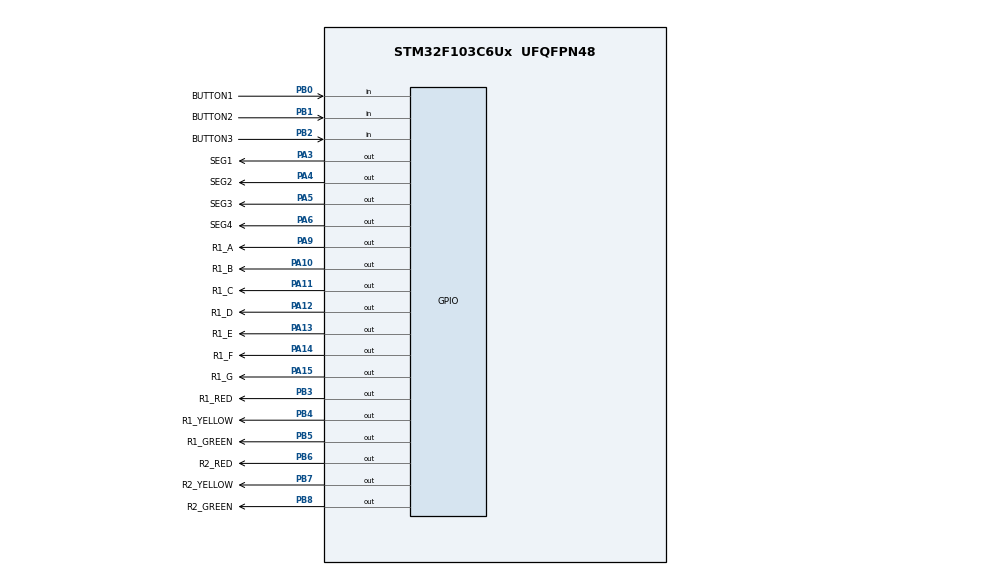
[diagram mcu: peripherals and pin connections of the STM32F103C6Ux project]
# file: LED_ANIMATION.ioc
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Mcu.Family=STM32F1
Mcu.Name=STM32F103C6Ux
Mcu.Package=UFQFPN48
NVIC.PriorityGroup=NVIC_PRIORITYGROUP_4
NVIC.TIM2_IRQn=true\:0\:0\:false\:false\:true\:true\:true
PA10.GPIO_Label=R1_B
PA10.Signal=GPIO_Output
PA11.GPIO_Label=R1_C
PA11.Signal=GPIO_Output
PA12.GPIO_Label=R1_D
PA12.Signal=GPIO_Output
PA13.GPIO_Label=R1_E
PA13.Signal=GPIO_Output
PA14.GPIO_Label=R1_F
PA14.Signal=GPIO_Output
PA15.GPIO_Label=R1_G
PA15.Signal=GPIO_Output
PA3.GPIO_Label=SEG1
PA3.Signal=GPIO_Output
PA4.GPIO_Label=SEG2
PA4.Signal=GPIO_Output
PA5.GPIO_Label=SEG3
PA5.Signal=GPIO_Output
PA6.GPIO_Label=SEG4
PA6.Signal=GPIO_Output
PA9.GPIO_Label=R1_A
PA9.Signal=GPIO_Output
PB0.GPIO_Label=BUTTON1
PB0.GPIO_PuPd=GPIO_PULLUP
PB0.Signal=GPIO_Input
PB1.GPIO_Label=BUTTON2
PB1.GPIO_PuPd=GPIO_PULLUP
PB1.Signal=GPIO_Input
PB2.GPIO_Label=BUTTON3
PB2.GPIO_PuPd=GPIO_PULLUP
PB2.Signal=GPIO_Input
PB3.GPIO_Label=R1_RED
PB3.Signal=GPIO_Output
PB4.GPIO_Label=R1_YELLOW
PB4.Signal=GPIO_Output
PB5.GPIO_Label=R1_GREEN
PB5.Signal=GPIO_Output
PB6.GPIO_Label=R2_RED
PB6.Signal=GPIO_Output
PB7.GPIO_Label=R2_YELLOW
PB7.Signal=GPIO_Output
PB8.GPIO_Label=R2_GREEN
PB8.Signal=GPIO_Output
ProjectManager.HeapSize=0x200
ProjectManager.StackSize=0x400
ProjectManager.TargetToolchain=STM32CubeIDE
RCC.APB1Freq_Value=8000000
RCC.APB2Freq_Value=8000000
TIM2.Period=9
TIM2.Prescaler=7999
VP_SYS_VS_ND.Mode=No_Debug
VP_TIM2_VS_ClockSourceINT.Mode=Internal
board=custom

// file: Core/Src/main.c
/* USER CODE BEGIN Header */
/**
  ******************************************************************************
  * @file           : main.c
  * @brief          : Main program body
  ******************************************************************************
  * @attention
  *
  * <h2><center>&copy; Copyright (c) 2023 STMicroelectronics.
  * All rights reserved.</center></h2>
  *
  * This software component is licensed by ST under BSD 3-Clause license,
  * the "License"; You may not use this file except in compliance with the
  * License. You may obtain a copy of the License at:
  *                        opensource.org/licenses/BSD-3-Clause
  *
  ******************************************************************************
  */
/* USER CODE END Header */
#include "main.h"

/* USER CODE BEGIN Includes */
//#include "input_reading.h"
#include "input_processing.h"
//#include "global.h"
/* USER CODE END Includes */

/* USER CODE BEGIN PM */
int LED = 0;
int SEG = 1;
int MATRIX = 2;
/* USER CODE END PM */

TIM_HandleTypeDef htim2;

void SystemClock_Config(void);
static void MX_GPIO_Init(void);
static void MX_TIM2_Init(void);

/* USER CODE BEGIN 0 */

//
//const int MAX_LED_MATRIX = 8;
//int index_led_matrix = 0;
//uint8_t matrix_buffer[8] = //{0x01, 0x02, 0x03, 0x04, 0x05, 0x06, 0x07, 0x08};
//		{0xE7, 0xDB, 0xBD, 0xBD, 0x81, 0xBD, 0xBD, 0xBD};//A
//
//
//const int MAX_LED = 4;
//int index_led = 0;
//int led_buffer[4] = {0, 0, 0, 0};
//int hour = 15, min = 8, sec = 50;
//
//void updateClockBuffer(){
//	led_buffer[0] = hour / 10;
//	led_buffer[2] = min / 10;
//	led_buffer[1] = hour % 10;
//	led_buffer[3] = min % 10;
//	++clock_buffer[2];
//	if(clock_buffer[2] == 60){
//	  ++clock_buffer[1];
//	  clock_buffer[2] = 0;
//	}
//	if(clock_buffer[1] == 60){
//	  ++clock_buffer[0];
//	  clock_buffer[1] = 0;
//	}
//	if(clock_buffer[0] == 24){
//	  clock_buffer[0] = 0;
//	}
//}

//void update7SEG(int id){
//	switch(id){
//		case 0: {
//		  HAL_GPIO_WritePin(en0_GPIO_Port, en0_Pin, GPIO_PIN_RESET);
//		  HAL_GPIO_WritePin(en3_GPIO_Port, en3_Pin, GPIO_PIN_SET);
//		  HAL_GPIO_WritePin(RED_LED_GPIO_Port, RED_LED_Pin, GPIO_PIN_SET);
//		  display7SEG(led_buffer[id]);
//		  break;
//		}
//		case 1: {
//			HAL_GPIO_WritePin(en1_GPIO_Port, en1_Pin, GPIO_PIN_RESET);
//			HAL_GPIO_WritePin(en0_GPIO_Port, en0_Pin, GPIO_PIN_SET);
//		  HAL_GPIO_WritePin(RED_LED_GPIO_Port, RED_LED_Pin, GPIO_PIN_RESET);
//		  display7SEG(led_buffer[id]);
//		  break;
//		}
//		case 2: {
//			HAL_GPIO_WritePin(en2_GPIO_Port, en2_Pin, GPIO_PIN_RESET);
//			HAL_GPIO_WritePin(en1_GPIO_Port, en1_Pin, GPIO_PIN_SET);
//		  HAL_GPIO_WritePin(RED_LED_GPIO_Port, RED_LED_Pin, GPIO_PIN_SET);
//		  display7SEG(led_buffer[id]);
//		  break;
//		}
//		case 3: {
//			HAL_GPIO_WritePin(en3_GPIO_Port, en3_Pin, GPIO_PIN_RESET);
//			HAL_GPIO_WritePin(en2_GPIO_Port, en2_Pin, GPIO_PIN_SET);
//			HAL_GPIO_WritePin(RED_LED_GPIO_Port, RED_LED_Pin, GPIO_PIN_RESET);
//		  display7SEG(led_buffer[id]);
//		  break;
//		}
//		default:{
//		  HAL_GPIO_WritePin(dot_GPIO_Port, dot_Pin, GPIO_PIN_SET);
//		  HAL_GPIO_WritePin(en0_GPIO_Port, en0_Pin, GPIO_PIN_SET);
//		  HAL_GPIO_WritePin(en1_GPIO_Port, en1_Pin, GPIO_PIN_SET);
//		  HAL_GPIO_WritePin(en0_GPIO_Port, en2_Pin, GPIO_PIN_SET);
//		  HAL_GPIO_WritePin(en1_GPIO_Port, en3_Pin, GPIO_PIN_SET);
//		  break;
//		}
//	}
//}

/* USER CODE END 0 */

int main(void)
{

  /* MCU Configuration--------------------------------------------------------*/

  /* Reset of all peripherals, Initializes the Flash interface and the Systick. */
  HAL_Init();

  /* Configure the system clock */
  SystemClock_Config();

  /* Initialize all configured peripherals */
  MX_GPIO_Init();
  MX_TIM2_Init();
  /* USER CODE BEGIN 2 */
  HAL_TIM_Base_Start_IT(&htim2);
  /* USER CODE END 2 */

  /* Infinite loop */
  /* USER CODE BEGIN WHILE */

//  setTimer(50, id);
//  HAL_GPIO_WritePin(dot_GPIO_Port, dot_Pin, GPIO_PIN_RESET);
//  HAL_GPIO_WritePin(en0_GPIO_Port, en0_Pin, GPIO_PIN_SET);
//  HAL_GPIO_WritePin(en1_GPIO_Port, en1_Pin, GPIO_PIN_SET);
//  HAL_GPIO_WritePin(en2_GPIO_Port, en2_Pin, GPIO_PIN_SET);
//  HAL_GPIO_WritePin(en3_GPIO_Port, en3_Pin, GPIO_PIN_SET);
//  setTimer(100, SEG);
//  setTimer(100, LED);
//  setTimer(1, MATRIX);
//
//  int seg = 0;
//  int id = 0;
//  int led = 1;

//  HAL_GPIO_WritePin(GPIOA, A5_Pin, 1);
  //HAL_GPIO_WritePin(GPIOB, BUTTON1_Pin, 1);

setTimer(0.5, 0);
setTimer(1, 1);
setTimer(0.24, 2);
status = INIT;
//HAL_GPIO_WritePin(GPIOA, SEG1_Pin, 1);
//int c = 0;
  while (1){

	  fsm_for_normal();
	  fsm_for_modify();

//	  HAL_GPIO_WritePin(GPIOA, SEG1_Pin, 0);
//	  if(timer_flag[2]) {
//		  HAL_GPIO_TogglePin(GPIOB, R1_RED_Pin);
//		//scan7SEG(1, 11);		//Display letter 'E'
//		  int t = (int) (1000 * 0.24) / 10;
//		  display7SEG(t / 10);
//		setTimer(0.24, 2);
//	}
//
//	  if(timer_flag[1]) {
//		  HAL_GPIO_TogglePin(GPIOB, R1_GREEN_Pin);
//		  setTimer(1, 1);
//	  }
//
//	  if(timer_flag[0]) {
//	  		  HAL_GPIO_TogglePin(GPIOB, R1_YELLOW_Pin);
//	  		  setTimer(0.5, 0);
//	  	  }

//	  HAL_GPIO_TogglePin(SEG1_GPIO_Port, SEG1_Pin);
//	  HAL_GPIO_TogglePin(SEG1_GPIO_Port, R1_A_Pin);
//
//	  HAL_GPIO_TogglePin(GPIOB, R1_RED_Pin);
//	  HAL_Delay(250);
//	  if(timer_flag[0]){

//	  write_led(R1_RED_Pin, R2_GREEN_Pin, 0);

//	display7SEG(led_count[R1], GPIOA);
//	display7SEG(led_count[R2], GPIOB);
//
//	if(timer_flag[1]){
//		led_count[R1] = 9;
//		led_count[R2] = 9;
//		status = RED_YELLOW;
//		HAL_GPIO_TogglePin(GPIOA, R1_RED_Pin);
//		HAL_GPIO_TogglePin(GPIOA, R2_GREEN_Pin);
//		setTimer(300, 1);
//	}
//	if(timer_flag[0]){
////	display7SEG(c++, GPIOA);
////	c %= 10;
//		--led_count[0];
//		--led_count[1];
//	  setTimer(100, 0);
//	}

//	  fsm_for_auto_processing();
//	  fsm_for_manual_processing();

//	  if(is_Pressed() == 1){
//		  HAL_GPIO_TogglePin(GPIOA, A5_Pin);
//	  }

	  //HAL_GPIO_WritePin(GPIOA, A5_Pin, HAL_GPIO_ReadPin(GPIOB, BUTTON_1_Pin));
	  //fsm_for_input_processing();

//	  if(timer_flag[LED] == 1){
//		  switch(led){
//		  	  case 1:{
//		  		  HAL_GPIO_WritePin(dot_GPIO_Port, dot_Pin, GPIO_PIN_SET);
//		  		  led = 0;
//		  		  break;
//		  	  }
//		  	  default:{
//		  		  HAL_GPIO_WritePin(dot_GPIO_Port, dot_Pin, GPIO_PIN_RESET);
//		  		  led = 1;
//		  	  }
//		  }
//
//		  shiftLeft(matrix_buffer);
//		  setTimer(100, LED);
//	  }
//
//	  if(timer_flag[MATRIX] == 1){
//
//		  updateLEDMatrix(matrix_buffer, id++);
//			if (id> 7) {
//				id= 0;
//			}
//
//		  setTimer(1, MATRIX);
//	  }
//	  if(timer_flag[SEG] == 1){
//
//		  updateClockBuffer();
//		  seg = seg % MAX_LED;
//		  update7SEG(seg++);
//		  ++sec;
//
//
////		  switch(seg){
////			  case 1: {
////				  HAL_GPIO_WritePin(en0_GPIO_Port, en0_Pin, (seg == 1) ? GPIO_PIN_RESET : GPIO_PIN_SET);
////				  HAL_GPIO_WritePin(en1_GPIO_Port, en1_Pin, (seg == 1) ? GPIO_PIN_SET : GPIO_PIN_RESET);
////				  HAL_GPIO_WritePin(en2_GPIO_Port, en2_Pin, (seg == 1) ? GPIO_PIN_SET : GPIO_PIN_RESET);
////				  HAL_GPIO_WritePin(en3_GPIO_Port, en3_Pin, (seg == 1) ? GPIO_PIN_SET : GPIO_PIN_RESET);
////				  HAL_GPIO_WritePin(RED_LED_GPIO_Port, RED_LED_Pin, GPIO_PIN_SET);
////				  display7SEG(seg);
////				  seg = 2;
////				  break;
////			  }
////			  case 2: {
////				  HAL_GPIO_WritePin(en0_GPIO_Port, en0_Pin, (seg == 2) ? GPIO_PIN_SET : GPIO_PIN_RESET);
////				  HAL_GPIO_WritePin(en1_GPIO_Port, en1_Pin, (seg == 2) ? GPIO_PIN_RESET : GPIO_PIN_SET);
////				  HAL_GPIO_WritePin(en2_GPIO_Port, en2_Pin, (seg == 2) ? GPIO_PIN_SET : GPIO_PIN_RESET);
////				  HAL_GPIO_WritePin(en3_GPIO_Port, en3_Pin, (seg == 2) ? GPIO_PIN_SET : GPIO_PIN_RESET);
////				  HAL_GPIO_WritePin(RED_LED_GPIO_Port, RED_LED_Pin, GPIO_PIN_RESET);
////				  display7SEG(seg);
////				  seg = 3;
////				  break;
////			  }
////			  case 3: {
////				  HAL_GPIO_WritePin(en0_GPIO_Port, en0_Pin, (seg == 3) ? GPIO_PIN_SET : GPIO_PIN_RESET);
////				  HAL_GPIO_WritePin(en1_GPIO_Port, en1_Pin, (seg == 3) ? GPIO_PIN_SET : GPIO_PIN_RESET);
////				  HAL_GPIO_WritePin(en2_GPIO_Port, en2_Pin, (seg == 3) ? GPIO_PIN_RESET : GPIO_PIN_SET);
////				  HAL_GPIO_WritePin(en3_GPIO_Port, en3_Pin, (seg == 3) ? GPIO_PIN_SET : GPIO_PIN_RESET);
////				  HAL_GPIO_WritePin(RED_LED_GPIO_Port, RED_LED_Pin, GPIO_PIN_SET);
////				  display7SEG(seg);
////				  seg = 4;
////				  break;
////			  }
////			  case 4: {
////				  HAL_GPIO_WritePin(en0_GPIO_Port, en0_Pin, (seg == 4) ? GPIO_PIN_SET : GPIO_PIN_RESET);
////				  HAL_GPIO_WritePin(en1_GPIO_Port, en1_Pin, (seg == 4) ? GPIO_PIN_SET : GPIO_PIN_RESET);
////				  HAL_GPIO_WritePin(en2_GPIO_Port, en2_Pin, (seg == 4) ? GPIO_PIN_SET : GPIO_PIN_RESET);
////				  HAL_GPIO_WritePin(en3_GPIO_Port, en3_Pin, (seg == 4) ? GPIO_PIN_RESET : GPIO_PIN_SET);
////				  HAL_GPIO_WritePin(RED_LED_GPIO_Port, RED_LED_Pin, GPIO_PIN_RESET);
////				  display7SEG(seg - 4);
////				  seg = 1;
////				  break;
////			  }
////			  default:{
////				  HAL_GPIO_WritePin(dot_GPIO_Port, dot_Pin, GPIO_PIN_SET);
////				  HAL_GPIO_WritePin(en0_GPIO_Port, en0_Pin, GPIO_PIN_SET);
////				  HAL_GPIO_WritePin(en1_GPIO_Port, en1_Pin, GPIO_PIN_SET);
////				  HAL_GPIO_WritePin(en0_GPIO_Port, en2_Pin, GPIO_PIN_SET);
////				  HAL_GPIO_WritePin(en1_GPIO_Port, en3_Pin, GPIO_PIN_SET);
////				  seg = 1;
////				  break;
////			  }
////		  }
//
//
//
//		  //setTimer(50, id);
//		  setTimer(100, SEG);
	  //}

    /* USER CODE END WHILE */

  }
}

void SystemClock_Config(void)
{
  RCC_OscInitTypeDef RCC_OscInitStruct = {0};
  RCC_ClkInitTypeDef RCC_ClkInitStruct = {0};

  /** Initializes the RCC Oscillators according to the specified parameters
  * in the RCC_OscInitTypeDef structure.
  */
  RCC_OscInitStruct.OscillatorType = RCC_OSCILLATORTYPE_HSI;
  RCC_OscInitStruct.HSIState = RCC_HSI_ON;
  RCC_OscInitStruct.HSICalibrationValue = RCC_HSICALIBRATION_DEFAULT;
  RCC_OscInitStruct.PLL.PLLState = RCC_PLL_NONE;
  if (HAL_RCC_OscConfig(&RCC_OscInitStruct) != HAL_OK)
  {
    Error_Handler();
  }
  /** Initializes the CPU, AHB and APB buses clocks
  */
  RCC_ClkInitStruct.ClockType = RCC_CLOCKTYPE_HCLK|RCC_CLOCKTYPE_SYSCLK
                              |RCC_CLOCKTYPE_PCLK1|RCC_CLOCKTYPE_PCLK2;
  RCC_ClkInitStruct.SYSCLKSource = RCC_SYSCLKSOURCE_HSI;
  RCC_ClkInitStruct.AHBCLKDivider = RCC_SYSCLK_DIV1;
  RCC_ClkInitStruct.APB1CLKDivider = RCC_HCLK_DIV1;
  RCC_ClkInitStruct.APB2CLKDivider = RCC_HCLK_DIV1;

  if (HAL_RCC_ClockConfig(&RCC_ClkInitStruct, FLASH_LATENCY_0) != HAL_OK)
  {
    Error_Handler();
  }
}

static void MX_TIM2_Init(void)
{

  TIM_ClockConfigTypeDef sClockSourceConfig = {0};
  TIM_MasterConfigTypeDef sMasterConfig = {0};

  htim2.Instance = TIM2;
  htim2.Init.Prescaler = 7999;
  htim2.Init.CounterMode = TIM_COUNTERMODE_UP;
  htim2.Init.Period = 9;
  htim2.Init.ClockDivision = TIM_CLOCKDIVISION_DIV1;
  htim2.Init.AutoReloadPreload = TIM_AUTORELOAD_PRELOAD_DISABLE;
  if (HAL_TIM_Base_Init(&htim2) != HAL_OK)
  {
    Error_Handler();
  }
  sClockSourceConfig.ClockSource = TIM_CLOCKSOURCE_INTERNAL;
  if (HAL_TIM_ConfigClockSource(&htim2, &sClockSourceConfig) != HAL_OK)
  {
    Error_Handler();
  }
  sMasterConfig.MasterOutputTrigger = TIM_TRGO_RESET;
  sMasterConfig.MasterSlaveMode = TIM_MASTERSLAVEMODE_DISABLE;
  if (HAL_TIMEx_MasterConfigSynchronization(&htim2, &sMasterConfig) != HAL_OK)
  {
    Error_Handler();
  }

}

static void MX_GPIO_Init(void)
{
  GPIO_InitTypeDef GPIO_InitStruct = {0};

  /* GPIO Ports Clock Enable */
  __HAL_RCC_GPIOA_CLK_ENABLE();
  __HAL_RCC_GPIOB_CLK_ENABLE();

  /*Configure GPIO pin Output Level */
  HAL_GPIO_WritePin(GPIOA, SEG1_Pin|SEG2_Pin|SEG3_Pin|SEG4_Pin
                          |R1_A_Pin|R1_B_Pin|R1_C_Pin|R1_D_Pin
                          |R1_E_Pin|R1_F_Pin|R1_G_Pin, GPIO_PIN_RESET);

  /*Configure GPIO pin Output Level */
  HAL_GPIO_WritePin(GPIOB, R1_RED_Pin|R1_YELLOW_Pin|R1_GREEN_Pin|R2_RED_Pin
                          |R2_YELLOW_Pin|R2_GREEN_Pin, GPIO_PIN_RESET);

  /*Configure GPIO pins : SEG1_Pin SEG2_Pin SEG3_Pin SEG4_Pin
                           R1_A_Pin R1_B_Pin R1_C_Pin R1_D_Pin
                           R1_E_Pin R1_F_Pin R1_G_Pin */
  GPIO_InitStruct.Pin = SEG1_Pin|SEG2_Pin|SEG3_Pin|SEG4_Pin
                          |R1_A_Pin|R1_B_Pin|R1_C_Pin|R1_D_Pin
                          |R1_E_Pin|R1_F_Pin|R1_G_Pin;
  GPIO_InitStruct.Mode = GPIO_MODE_OUTPUT_PP;
  GPIO_InitStruct.Pull = GPIO_NOPULL;
  GPIO_InitStruct.Speed = GPIO_SPEED_FREQ_LOW;
  HAL_GPIO_Init(GPIOA, &GPIO_InitStruct);

  /*Configure GPIO pins : BUTTON1_Pin BUTTON2_Pin BUTTON3_Pin */
  GPIO_InitStruct.Pin = BUTTON1_Pin|BUTTON2_Pin|BUTTON3_Pin;
  GPIO_InitStruct.Mode = GPIO_MODE_INPUT;
  GPIO_InitStruct.Pull = GPIO_PULLUP;
  HAL_GPIO_Init(GPIOB, &GPIO_InitStruct);

  /*Configure GPIO pins : R1_RED_Pin R1_YELLOW_Pin R1_GREEN_Pin R2_RED_Pin
                           R2_YELLOW_Pin R2_GREEN_Pin */
  GPIO_InitStruct.Pin = R1_RED_Pin|R1_YELLOW_Pin|R1_GREEN_Pin|R2_RED_Pin
                          |R2_YELLOW_Pin|R2_GREEN_Pin;
  GPIO_InitStruct.Mode = GPIO_MODE_OUTPUT_PP;
  GPIO_InitStruct.Pull = GPIO_NOPULL;
  GPIO_InitStruct.Speed = GPIO_SPEED_FREQ_LOW;
  HAL_GPIO_Init(GPIOB, &GPIO_InitStruct);

}

/* USER CODE BEGIN 4 */
//  int counter = 100;
//  void HAL_TIM_PeriodElapsedCallback(TIM_HandleTypeDef *htim){
//	  --counter;
//	  if(counter <= 0){
//		  counter = 100;
//		  HAL_GPIO_TogglePin(GPIOA, R1_RED_Pin);
//	  }
//  }

void HAL_TIM_PeriodElapsedCallback(TIM_HandleTypeDef *htim){
//	timerRun();
	timerRun(0);
	timerRun(1);
	timerRun(2);
	getKeyInput(BUTTON1, BUTTON1_Pin);
	getKeyInput(BUTTON2, BUTTON2_Pin);
	getKeyInput(BUTTON3, BUTTON3_Pin);
	//if(htim->Instance == TIM2) {
	//		  button_reading () ;
	//}
	//	  timerRun(LED);
	//	  timerRun(SEG);
	//	  timerRun(MATRIX);
}

/* USER CODE END 4 */

void Error_Handler(void)
{
  __disable_irq();
  while (1)
  {
  }
}

/************************ (C) COPYRIGHT STMicroelectronics *****END OF FILE****/
